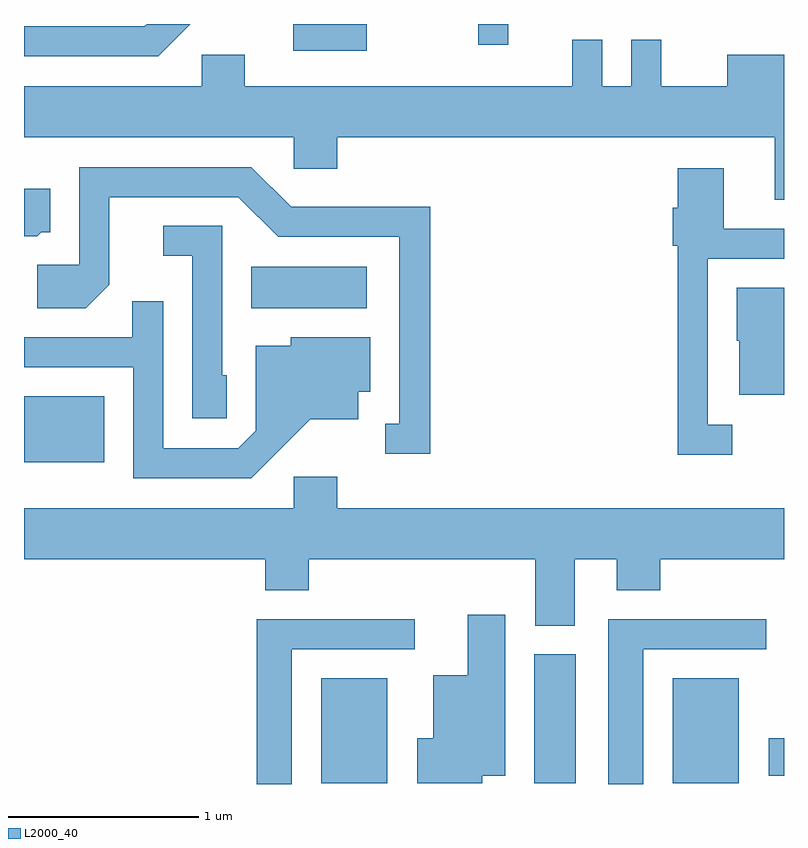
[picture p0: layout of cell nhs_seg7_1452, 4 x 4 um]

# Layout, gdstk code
import gdstk
lib = gdstk.Library(unit=1e-6, precision=1e-09)
def R(c, l, rs):  # rectangles x0, y0, x1, y1
    for r in rs: c.add(gdstk.rectangle(r[:2], r[2:], *l))
def P(c, l, *ps):  # polygons
    for p in ps: c.add(gdstk.Polygon(p, *l))
L2000_40 = (2000, 40)

nhs_seg7_1452 = lib.new_cell('nhs_seg7_1452')
R(nhs_seg7_1452, L2000_40, [(231.176,1704.256,231.524,1704.809), (232.296,1704.256,232.514,1704.934), (233.026,1704.256,233.374,1704.809), (233.531,1704.296,233.611,1704.494), (229.611,1705.946,230.034,1706.294), (230.806,1706.756,231.414,1706.974), (231.028,1708.111,231.414,1708.252), (232.001,1708.143,232.159,1708.252)])
P(nhs_seg7_1452, L2000_40, [(230.487,1708.252),(230.257,1708.252),(230.244,1708.239),(229.611,1708.239),(229.611,1708.081),(230.317,1708.081)],
  [(233.611,1708.089),(233.311,1708.089),(233.311,1707.924),(232.964,1707.924),(232.964,1708.168),(232.806,1708.168),(232.806,1707.924),(232.654,1707.924),(232.654,1708.168),(232.496,1708.168),(232.496,1707.924),(230.774,1707.924),(230.774,1708.089),(230.546,1708.089),(230.546,1707.924),(229.611,1707.924),(229.611,1707.656),(231.031,1707.656),(231.031,1707.491),(231.259,1707.491),(231.259,1707.656),(233.561,1707.656),(233.561,1707.326),(233.611,1707.326)],
  [(231.749,1707.289),(231.017,1707.289),(230.807,1707.499),(229.901,1707.499),(229.901,1706.984),(229.681,1706.984),(229.681,1706.756),(229.937,1706.756),(230.059,1706.879),(230.059,1707.341),(230.739,1707.341),(230.949,1707.131),(231.586,1707.131),(231.586,1706.149),(231.513,1706.149),(231.513,1705.991),(231.749,1705.991)],
  [(233.338,1706.144),(233.209,1706.144),(233.209,1707.016),(233.611,1707.016),(233.611,1707.174),(233.294,1707.174),(233.294,1707.494),(233.051,1707.494),(233.051,1707.284),(233.026,1707.284),(233.026,1707.086),(233.051,1707.086),(233.051,1705.986),(233.338,1705.986)],
  [(229.702,1707.156),(229.749,1707.156),(229.749,1707.384),(229.611,1707.384),(229.611,1707.136),(229.682,1707.136)],
  [(230.679,1706.404),(230.654,1706.404),(230.654,1707.189),(230.343,1707.189),(230.343,1707.031),(230.496,1707.031),(230.496,1706.176),(230.679,1706.176)],
  [(233.611,1706.864),(233.361,1706.864),(233.361,1706.585),(233.376,1706.585),(233.376,1706.301),(233.611,1706.301)],
  [(231.117,1706.171),(231.369,1706.171),(231.369,1706.316),(231.434,1706.316),(231.434,1706.604),(231.016,1706.604),(231.016,1706.559),(230.831,1706.559),(230.831,1706.112),(230.739,1706.019),(230.344,1706.019),(230.344,1706.793),(230.181,1706.793),(230.181,1706.604),(229.611,1706.604),(229.611,1706.446),(230.186,1706.446),(230.186,1705.861),(230.807,1705.861)],
  [(231.259,1705.869),(231.031,1705.869),(231.031,1705.704),(229.611,1705.704),(229.611,1705.436),(230.881,1705.436),(230.881,1705.271),(231.109,1705.271),(231.109,1705.436),(232.301,1705.436),(232.301,1705.086),(232.509,1705.086),(232.509,1705.436),(232.731,1705.436),(232.731,1705.271),(232.959,1705.271),(232.959,1705.436),(233.611,1705.436),(233.611,1705.704),(231.259,1705.704)],
  [(232.024,1704.296),(232.144,1704.296),(232.144,1705.144),(231.946,1705.144),(231.946,1704.824),(231.766,1704.824),(231.766,1704.494),(231.681,1704.494),(231.681,1704.256),(232.024,1704.256)],
  [(232.869,1704.961),(233.518,1704.961),(233.518,1705.119),(232.686,1705.119),(232.686,1704.252),(232.869,1704.252)],
  [(231.019,1704.961),(231.668,1704.961),(231.668,1705.119),(230.836,1705.119),(230.836,1704.252),(231.019,1704.252)])

lib.write_gds('nhs_seg7_1452.gds')
